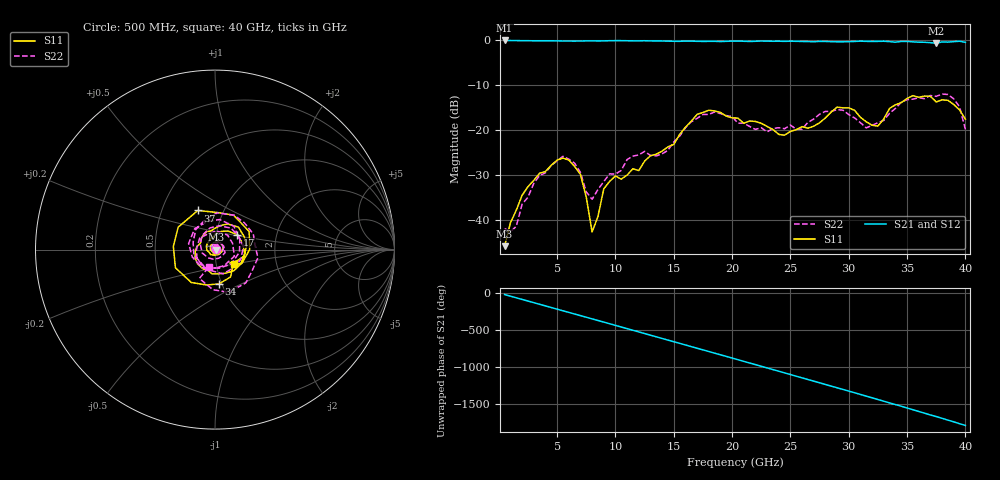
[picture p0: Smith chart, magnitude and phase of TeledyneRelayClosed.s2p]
# MHz MA S R 50.0
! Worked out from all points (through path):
!   80 points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, 500 MHz to 40 GHz, reference 50 ohm
!   highest |S21| = -0.04 dB at 500 MHz (marker M1); lowest = -0.6 dB at 37.5 GHz (marker M2)
!   group delay of S21, straight-line fit = 124 ps
!   lowest |S11| = -45.7 dB at 500 MHz (marker M3), VSWR 1.01, Z = 50.5 + j0.0345 ohm
!   |S11| at or under -10 dB: start of sweep to end of sweep
!   |S22| runs from -42.5 to -11.9 dB; largest |S21 - S12| = 0.025
!   S11 on the Smith chart (normalised r, x): 500 MHz: 1.01, +0.00; 17 GHz: 1.27, +0.22; 34 GHz: 0.97, -0.38; 37 GHz: 0.76, +0.35; 40 GHz: 1.21, -0.20
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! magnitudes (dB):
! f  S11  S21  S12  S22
! 500 MHz  -45.7  0.0  0.0  -41.8
! 1.5 GHz  -37.8  -0.1  -0.1  -41.3
! 2 GHz  -34.4  -0.1  -0.1  -36.4
! 5 GHz  -26.6  -0.1  -0.1  -26.8
! 6.5 GHz  -28.0  -0.2  -0.2  -27.3
! 7.5 GHz  -34.9  -0.1  -0.1  -33.7
! 8 GHz  -42.6  -0.1  -0.1  -35.3
! 9 GHz  -33.0  -0.1  -0.1  -31.4
! 9.5 GHz  -31.4  -0.1  -0.1  -29.7
! 14 GHz  -24.6  -0.2  -0.2  -25.2
! 17 GHz  -16.5  -0.2  -0.2  -17.4
! 20.5 GHz  -17.3  -0.2  -0.1  -18.4
! 24.5 GHz  -21.1  -0.2  -0.3  -19.7
! 27 GHz  -19.1  -0.3  -0.4  -17.5
! 29 GHz  -14.9  -0.3  -0.4  -15.4
! 32.5 GHz  -19.1  -0.2  -0.3  -18.3
! 33.5 GHz  -15.1  -0.3  -0.4  -16.2
! 34 GHz  -14.3  -0.4  -0.6  -15.2
! 37 GHz  -12.5  -0.5  -0.6  -12.3
! 37.5 GHz  -13.7  -0.6  -0.6  -12.5
! 39 GHz  -14.3  -0.3  -0.4  -13.0
! 40 GHz  -17.5  -0.4  -0.4  -19.8
